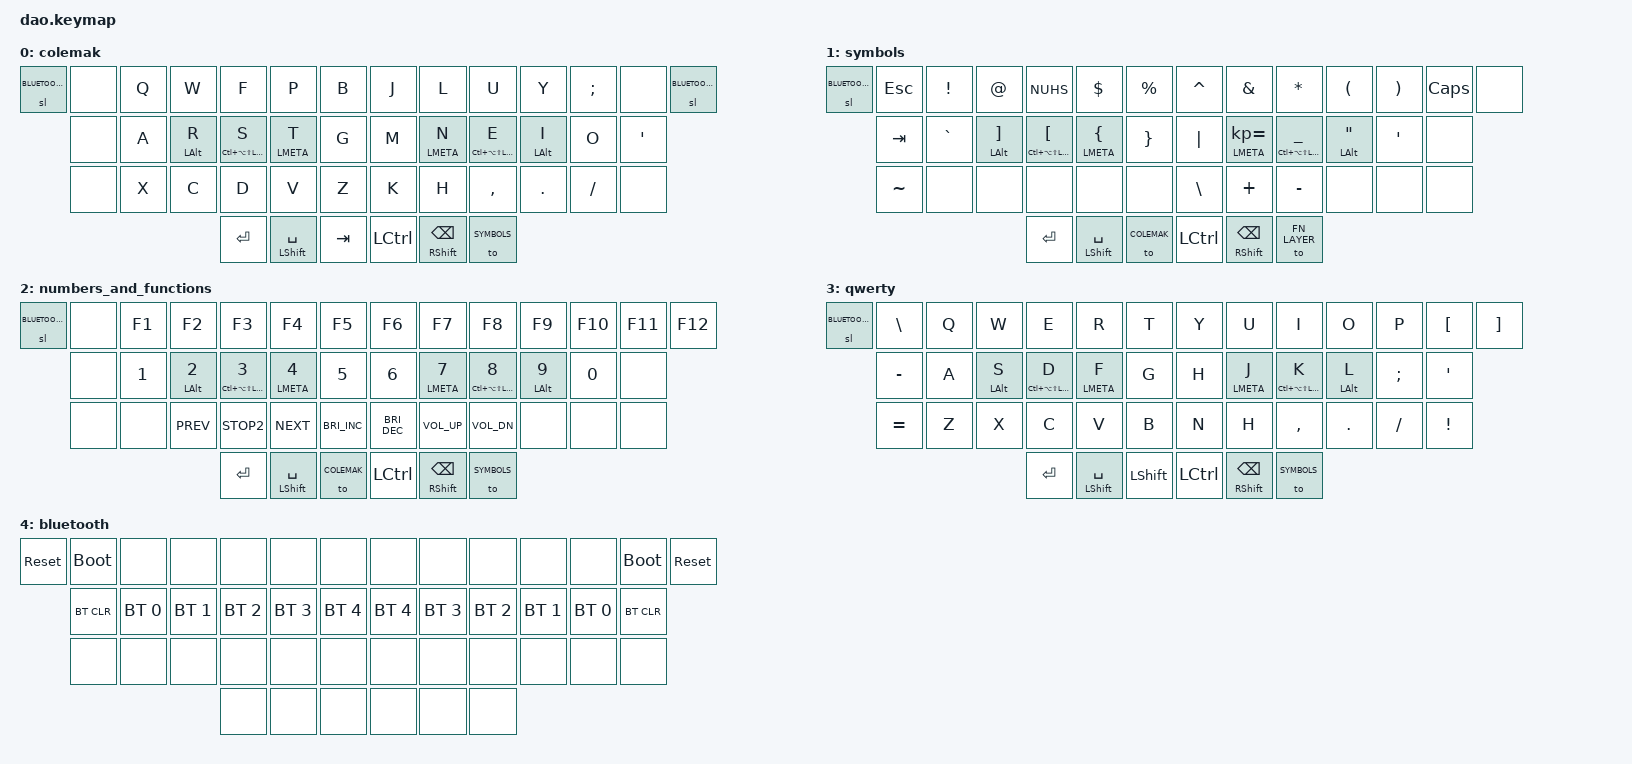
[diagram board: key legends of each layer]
#include <behaviors.dtsi>
#include <dt-bindings/zmk/keys.h>
#include <dt-bindings/zmk/bt.h>

#define COLEMAK 0
#define SYMBOLS 1
#define FN_LAYER 2
#define QWERTY 3
#define BLUETOOTH 4

// Hyper key = holding all modifiers
#define HYP LC(LA(LS(LGUI)))

&mt {
  flavor = "tap-preferred";
  quick_tap_ms = <200>; 
};


/ {
    chosen {
        zmk,matrix_transform = &extra_keys_transform;
    };
};

/ {
    combos {
        compatible = "zmk,combos";
        combo_toggle_layout_r {
            timeout-ms = <50>;
            key-positions = <41 42>;
            bindings = <&to COLEMAK>;
            layers = <COLEMAK QWERTY>;
        };
        combo_toggle_layout_l {
            timeout-ms = <50>;
            key-positions = <39 40>;
            bindings = <&to QWERTY>;
            layers = <COLEMAK QWERTY>;
        };
    };
};

/ {
  keymap {
    compatible = "zmk,keymap";
    colemak {
       bindings = <
     &sl BLUETOOTH  &none  &kp Q  &kp W       &kp F      &kp P            &kp B    &kp J      &kp L            &kp U      &kp Y       &kp SEMI  &none  &sl BLUETOOTH
                    &none  &kp A  &mt LALT R  &mt HYP S  &mt LMETA T      &kp G    &kp M      &mt LMETA N      &mt HYP E  &mt LALT I  &kp O     &kp SQT
                    &none  &kp X  &kp C       &kp D      &kp V            &kp Z    &kp K      &kp H            &kp COMMA  &kp PERIOD  &kp FSLH  &none
                                              &kp RET    &mt LSHIFT SPACE &kp TAB  &kp LCTRL  &mt RSHIFT BSPC  &to SYMBOLS
                          >;
                };
    symbols {
       bindings = <
   &sl BLUETOOTH  &kp ESC    &kp EXCL   &kp AT         &kp NUHS      &kp DLLR          &kp PRCNT     &kp CARET  &kp AMPS            &kp ASTRK      &kp LPAR      &kp RPAR  &kp CAPS  &none
                  &kp TAB    &kp GRAVE  &mt LALT RBKT  &mt HYP LBKT  &mt LMETA LBRC    &kp RBRC      &kp PIPE   &mt LMETA KP_EQUAL  &mt HYP UNDER  &mt LALT DQT  &kp SQT   &none
                  &kp TILDE  &none      &none          &none         &none             &none         &kp BSLH   &kp PLUS            &kp MINUS      &none         &none     &none
                                                       &kp RET       &mt LSHIFT SPACE  &to COLEMAK   &kp LCTRL  &mt RSHIFT BSPC     &to FN_LAYER
                        >;
        };
    numbers_and_functions {
       bindings = <
   &sl BLUETOOTH  &none  &kp F1  &kp F2       &kp F3        &kp F4            &kp F5         &kp F6         &kp F7           &kp F8         &kp F9       &kp F10  &kp F11  &kp F12
                  &none  &kp N1  &mt LALT N2  &mt HYP N3    &mt LMETA N4      &kp N5         &kp N6         &mt LMETA N7     &mt HYP N8     &mt LALT N9  &kp N0  &none
                  &none  &none   &kp K_PREV   &kp K_STOP2   &kp K_NEXT        &kp C_BRI_INC  &kp C_BRI_DEC  &kp K_VOL_UP     &kp K_VOL_DN   &none        &none   &none
                                              &kp RET       &mt LSHIFT SPACE  &to COLEMAK    &kp LCTRL      &mt RSHIFT BSPC  &to SYMBOLS
                        >;
        };
// TODO: add quotes for russian
    qwerty {
       bindings = <
     &sl BLUETOOTH  &kp BSLH   &kp Q  &kp W       &kp E      &kp R            &kp T       &kp Y      &kp U            &kp I      &kp O       &kp P     &kp LBKT  &kp RBKT
                    &kp MINUS  &kp A  &mt LALT S  &mt HYP D  &mt LMETA F      &kp G       &kp H      &mt LMETA J      &mt HYP K  &mt LALT L  &kp SEMI  &kp SQT
                    &kp EQUAL  &kp Z  &kp X       &kp C      &kp V            &kp B       &kp N      &kp H            &kp COMMA  &kp PERIOD  &kp FSLH  &kp EXCL
                                                  &kp RET    &mt LSHIFT SPACE  &kp LSHIFT  &kp LCTRL  &mt RSHIFT BSPC  &to SYMBOLS
                        >;
        };
    bluetooth {
            bindings = <
   &sys_reset &bootloader  &none        &none        &none        &none        &none              &none        &none        &none        &none        &none         &bootloader &sys_reset
              &bt BT_CLR   &bt BT_SEL 0 &bt BT_SEL 1 &bt BT_SEL 2 &bt BT_SEL 3 &bt BT_SEL 4       &bt BT_SEL 4 &bt BT_SEL 3 &bt BT_SEL 2 &bt BT_SEL 1 &bt BT_SEL 0  &bt BT_CLR
              &none        &none        &none        &none        &none        &none              &none        &none        &none        &none        &none         &none
                                                     &none        &none        &none              &none        &none        &none
                        >;
        };
    };
};
